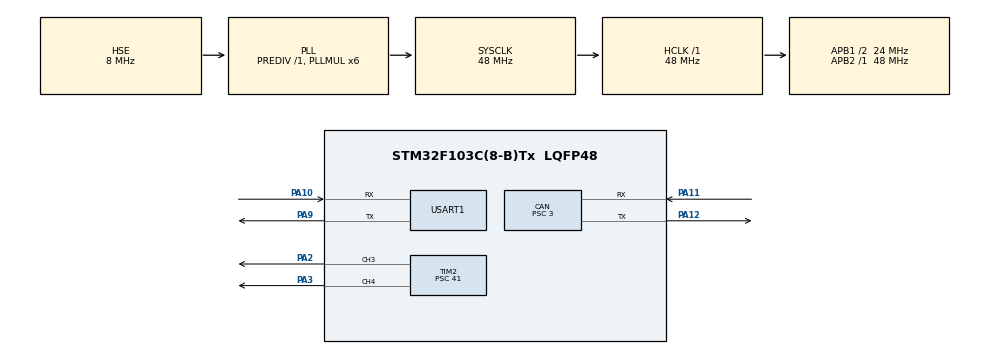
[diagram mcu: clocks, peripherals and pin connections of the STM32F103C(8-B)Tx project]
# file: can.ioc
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CAN.BS1=CAN_BS1_5TQ
CAN.BS2=CAN_BS2_2TQ
CAN.CalculateBaudRate=1000000
CAN.CalculateTimeBit=1000.00
CAN.CalculateTimeQuantum=125.0
CAN.Prescaler=3
FREERTOS.Tasks01=defaultTask,0,128,StartDefaultTask,Default,NULL,Dynamic,NULL,NULL
Mcu.Family=STM32F1
Mcu.Name=STM32F103C(8-B)Tx
Mcu.Package=LQFP48
NVIC.PriorityGroup=NVIC_PRIORITYGROUP_4
NVIC.TIM4_IRQn=true\:0\:0\:false\:false\:true\:false\:false\:true
NVIC.TimeBase=TIM4_IRQn
NVIC.TimeBaseIP=TIM4
NVIC.USB_LP_CAN1_RX0_IRQn=true\:5\:0\:false\:false\:true\:true\:true\:true
PA10.Mode=Asynchronous
PA10.Signal=USART1_RX
PA11.Mode=CAN_Activate
PA11.Signal=CAN_RX
PA12.Mode=CAN_Activate
PA12.Signal=CAN_TX
PA13.Mode=Serial_Wire
PA13.Signal=SYS_JTMS-SWDIO
PA14.Mode=Serial_Wire
PA14.Signal=SYS_JTCK-SWCLK
PA2.Signal=S_TIM2_CH3
PA3.Signal=S_TIM2_CH4
PA9.Mode=Asynchronous
PA9.Signal=USART1_TX
PD0-OSC_IN.Mode=HSE-External-Oscillator
PD0-OSC_IN.Signal=RCC_OSC_IN
PD1-OSC_OUT.Mode=HSE-External-Oscillator
PD1-OSC_OUT.Signal=RCC_OSC_OUT
ProjectManager.HeapSize=0x200
ProjectManager.StackSize=0x400
ProjectManager.TargetToolchain=MDK-ARM V5.27
RCC.AHBFreq_Value=48000000
RCC.APB1CLKDivider=RCC_HCLK_DIV2
RCC.APB1Freq_Value=24000000
RCC.APB1TimFreq_Value=48000000
RCC.APB2Freq_Value=48000000
RCC.APB2TimFreq_Value=48000000
RCC.HCLKFreq_Value=48000000
RCC.PLLMUL=RCC_PLL_MUL6
RCC.PLLSourceVirtual=RCC_PLLSOURCE_HSE
RCC.SYSCLKFreq_VALUE=48000000
RCC.SYSCLKSource=RCC_SYSCLKSOURCE_PLLCLK
RCC.USBFreq_Value=48000000
SH.S_TIM2_CH3.0=TIM2_CH3,PWM Generation3 CH3
SH.S_TIM2_CH4.0=TIM2_CH4,PWM Generation4 CH4
TIM2.AutoReloadPreload=TIM_AUTORELOAD_PRELOAD_ENABLE
TIM2.Channel-PWM\ Generation3\ CH3=TIM_CHANNEL_3
TIM2.Channel-PWM\ Generation4\ CH4=TIM_CHANNEL_4
TIM2.Period=20000
TIM2.Prescaler=41
TIM2.Pulse-PWM\ Generation3\ CH3=10000
TIM2.Pulse-PWM\ Generation4\ CH4=15000
USART1.VirtualMode=VM_ASYNC
VP_FREERTOS_VS_CMSIS_V1.Mode=CMSIS_V1
VP_SYS_VS_tim4.Mode=TIM4
VP_TIM2_VS_ClockSourceINT.Mode=Internal
board=custom

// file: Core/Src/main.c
/* USER CODE BEGIN Header */
/**
  ******************************************************************************
  * @file           : main.c
  * @brief          : Main program body
  ******************************************************************************
  * @attention
  *
  * <h2><center>&copy; Copyright (c) 2021 STMicroelectronics.
  * All rights reserved.</center></h2>
  *
  * This software component is licensed by ST under Ultimate Liberty license
  * SLA0044, the "License"; You may not use this file except in compliance with
  * the License. You may obtain a copy of the License at:
  *                             www.st.com/SLA0044
  *
  ******************************************************************************
  */
/* USER CODE END Header */
#include "main.h"
#include "cmsis_os.h"
#include "can.h"
#include "tim.h"
#include "usart.h"
#include "gpio.h"

void SystemClock_Config(void);
void MX_FREERTOS_Init(void);

int main(void)
{

  /* MCU Configuration--------------------------------------------------------*/

  /* Reset of all peripherals, Initializes the Flash interface and the Systick. */
  HAL_Init();

  /* Configure the system clock */
  SystemClock_Config();

  /* Initialize all configured peripherals */
  MX_GPIO_Init();
  MX_CAN_Init();
  MX_USART1_UART_Init();
  MX_TIM2_Init();

  /* Call init function for freertos objects (in freertos.c) */
  MX_FREERTOS_Init();
  /* Start scheduler */
  osKernelStart();

  /* We should never get here as control is now taken by the scheduler */
  /* Infinite loop */
  while (1)
  {

  }
}

void SystemClock_Config(void)
{
  RCC_OscInitTypeDef RCC_OscInitStruct = {0};
  RCC_ClkInitTypeDef RCC_ClkInitStruct = {0};

  /** Initializes the RCC Oscillators according to the specified parameters
  * in the RCC_OscInitTypeDef structure.
  */
  RCC_OscInitStruct.OscillatorType = RCC_OSCILLATORTYPE_HSE;
  RCC_OscInitStruct.HSEState = RCC_HSE_ON;
  RCC_OscInitStruct.HSEPredivValue = RCC_HSE_PREDIV_DIV1;
  RCC_OscInitStruct.HSIState = RCC_HSI_ON;
  RCC_OscInitStruct.PLL.PLLState = RCC_PLL_ON;
  RCC_OscInitStruct.PLL.PLLSource = RCC_PLLSOURCE_HSE;
  RCC_OscInitStruct.PLL.PLLMUL = RCC_PLL_MUL6;
  if (HAL_RCC_OscConfig(&RCC_OscInitStruct) != HAL_OK)
  {
    Error_Handler();
  }
  /** Initializes the CPU, AHB and APB buses clocks
  */
  RCC_ClkInitStruct.ClockType = RCC_CLOCKTYPE_HCLK|RCC_CLOCKTYPE_SYSCLK
                              |RCC_CLOCKTYPE_PCLK1|RCC_CLOCKTYPE_PCLK2;
  RCC_ClkInitStruct.SYSCLKSource = RCC_SYSCLKSOURCE_PLLCLK;
  RCC_ClkInitStruct.AHBCLKDivider = RCC_SYSCLK_DIV1;
  RCC_ClkInitStruct.APB1CLKDivider = RCC_HCLK_DIV2;
  RCC_ClkInitStruct.APB2CLKDivider = RCC_HCLK_DIV1;

  if (HAL_RCC_ClockConfig(&RCC_ClkInitStruct, FLASH_LATENCY_1) != HAL_OK)
  {
    Error_Handler();
  }
}

void HAL_TIM_PeriodElapsedCallback(TIM_HandleTypeDef *htim)
{
  if (htim->Instance == TIM4) {
    HAL_IncTick();
  }
}

void Error_Handler(void)
{
}

/************************ (C) COPYRIGHT STMicroelectronics *****END OF FILE****/

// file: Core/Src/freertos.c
/* USER CODE BEGIN Header */
/**
  ******************************************************************************
  * File Name          : freertos.c
  * Description        : Code for freertos applications
  ******************************************************************************
  * @attention
  *
  * <h2><center>&copy; Copyright (c) 2021 STMicroelectronics.
  * All rights reserved.</center></h2>
  *
  * This software component is licensed by ST under Ultimate Liberty license
  * SLA0044, the "License"; You may not use this file except in compliance with
  * the License. You may obtain a copy of the License at:
  *                             www.st.com/SLA0044
  *
  ******************************************************************************
  */
/* USER CODE END Header */

#include "FreeRTOS.h"
#include "task.h"
#include "main.h"
#include "cmsis_os.h"

/* USER CODE BEGIN Includes */
#include "generator.h"
#include "status.h"
#include "tim.h"
/* USER CODE END Includes */

/* USER CODE BEGIN PM */
osThreadId canTaskHandle;
/* USER CODE END PM */

/* USER CODE BEGIN Variables */
extern uint8_t canRxData[2048];
/* USER CODE END Variables */
osThreadId defaultTaskHandle;

/* USER CODE BEGIN FunctionPrototypes */
void can_read_task(void const * argument);
/* USER CODE END FunctionPrototypes */

void StartDefaultTask(void const * argument);

void MX_FREERTOS_Init(void); /* (MISRA C 2004 rule 8.1) */

/* GetIdleTaskMemory prototype (linked to static allocation support) */
void vApplicationGetIdleTaskMemory( StaticTask_t **ppxIdleTaskTCBBuffer, StackType_t **ppxIdleTaskStackBuffer, uint32_t *pulIdleTaskStackSize );

/* USER CODE BEGIN GET_IDLE_TASK_MEMORY */
static StaticTask_t xIdleTaskTCBBuffer;
static StackType_t xIdleStack[configMINIMAL_STACK_SIZE];

void vApplicationGetIdleTaskMemory( StaticTask_t **ppxIdleTaskTCBBuffer, StackType_t **ppxIdleTaskStackBuffer, uint32_t *pulIdleTaskStackSize )
{
  *ppxIdleTaskTCBBuffer = &xIdleTaskTCBBuffer;
  *ppxIdleTaskStackBuffer = &xIdleStack[0];
  *pulIdleTaskStackSize = configMINIMAL_STACK_SIZE;
  /* place for user code */
}
/* USER CODE END GET_IDLE_TASK_MEMORY */

void MX_FREERTOS_Init(void) {

  /* Create the thread(s) */
  /* definition and creation of defaultTask */
  osThreadDef(defaultTask, StartDefaultTask, osPriorityNormal, 0, 128);
  defaultTaskHandle = osThreadCreate(osThread(defaultTask), NULL);

  /* USER CODE BEGIN RTOS_THREADS */
  osThreadDef(canTask, can_read_task, osPriorityNormal, 0, 512);
  canTaskHandle = osThreadCreate(osThread(canTask), NULL);
  /* add threads, ... */
  /* USER CODE END RTOS_THREADS */

}

void StartDefaultTask(void const * argument)
{
  for(;;)
  {
    osDelay(1);
  }
}

/* USER CODE BEGIN Application */

void can_read_task(void const * argument)
{
  int oilPWM = 0;
  HAL_TIM_PWM_Start(&htim2,TIM_CHANNEL_3);
  __HAL_TIM_SetCompare(&htim2, TIM_CHANNEL_3, 1000);

  for (;;)
  {

    update_generator_data();
		oilPWM = get_oil_level();
    __HAL_TIM_SetCompare(&htim2, TIM_CHANNEL_3, oilPWM);

    HAL_Delay(100);
    osDelay(1);
  }
}
/* USER CODE END Application */

/************************ (C) COPYRIGHT STMicroelectronics *****END OF FILE****/
